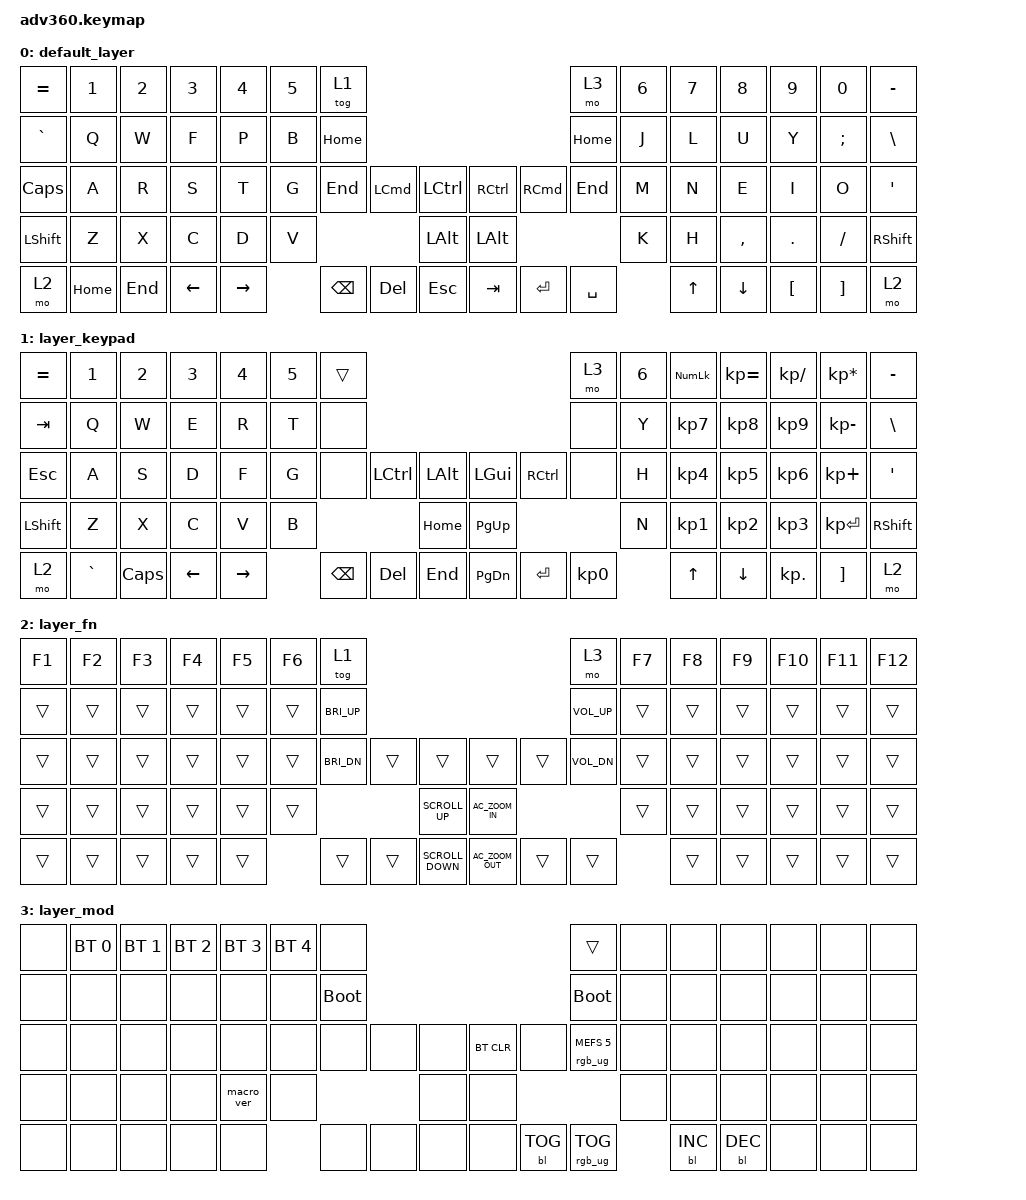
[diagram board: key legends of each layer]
/*
 * Copyright (c) 2020 The ZMK Contributors
 *
 * SPDX-License-Identifier: MIT
 */
/* THIS FILE WAS GENERATED!
 *
 * This file was generated automatically. You may or may not want to
 * edit it directly.
 */

#include <behaviors.dtsi>
#include <dt-bindings/zmk/backlight.h>
#include <dt-bindings/zmk/bt.h>
#include <dt-bindings/zmk/keys.h>
#include <dt-bindings/zmk/rgb.h>

/ {
    behaviors {
        #include "macros.dtsi"
    #include "version.dtsi"

        hm: homerow_mods {
            compatible = "zmk,behavior-hold-tap";
            label = "HOMEROW_MODS";
            #binding-cells = <2>;
            tapping-term-ms = <200>;
            quick_tap_ms = <175>;
            flavor = "tap-preferred";
            bindings = <&kp>, <&kp>;
        };
    };

    keymap {
        compatible = "zmk,keymap";

        default_layer {
            bindings = <
&kp EQUAL  &kp N1    &kp N2   &kp N3    &kp N4     &kp N5  &tog 1                                                                    &mo 3      &kp N6  &kp N7  &kp N8     &kp N9    &kp N0         &kp MINUS
&kp GRAVE  &kp Q     &kp W    &kp F     &kp P      &kp B   &kp HOME                                                                  &kp HOME   &kp J   &kp L   &kp U      &kp Y     &kp SEMICOLON  &kp BSLH
&kp CAPS   &kp A     &kp R    &kp S     &kp T      &kp G   &kp END   &kp LEFT_COMMAND  &kp LCTRL       &kp RCTRL  &kp RIGHT_COMMAND  &kp END    &kp M   &kp N   &kp E      &kp I     &kp O          &kp SQT
&kp LSHFT  &kp Z     &kp X    &kp C     &kp D      &kp V                               &kp LALT        &kp LALT                                 &kp K   &kp H   &kp COMMA  &kp DOT   &kp FSLH       &kp RSHFT
&mo 2      &kp HOME  &kp END  &kp LEFT  &kp RIGHT          &kp BSPC  &kp DEL           &kp ESCAPE      &kp TAB    &kp ENTER          &kp SPACE          &kp UP  &kp DOWN   &kp LBKT  &kp RBKT       &mo 2
            >;
        };

        layer_keypad {
            bindings = <
&kp EQUAL  &kp N1     &kp N2    &kp N3    &kp N4     &kp N5  &trans                                                   &mo 3      &kp N6  &kp KP_NUM  &kp KP_EQUAL  &kp KP_DIVIDE  &kp KP_MULTIPLY  &kp MINUS
&kp TAB    &kp Q      &kp W     &kp E     &kp R      &kp T   &none                                                    &none      &kp Y   &kp KP_N7   &kp KP_N8     &kp KP_N9      &kp KP_MINUS     &kp BSLH
&kp ESC    &kp A      &kp S     &kp D     &kp F      &kp G   &none     &kp LCTRL  &kp LALT      &kp LGUI   &kp RCTRL  &none      &kp H   &kp KP_N4   &kp KP_N5     &kp KP_N6      &kp KP_PLUS      &kp SQT
&kp LSHFT  &kp Z      &kp X     &kp C     &kp V      &kp B                        &kp HOME      &kp PG_UP                        &kp N   &kp KP_N1   &kp KP_N2     &kp KP_N3      &kp KP_ENTER     &kp RSHFT
&mo 2      &kp GRAVE  &kp CAPS  &kp LEFT  &kp RIGHT          &kp BSPC  &kp DEL    &kp END       &kp PG_DN  &kp ENTER  &kp KP_N0          &kp UP      &kp DOWN      &kp KP_DOT     &kp RBKT         &mo 2
            >;
        };

        layer_fn {
            bindings = <
&kp F1  &kp F2  &kp F3  &kp F4  &kp F5  &kp F6  &tog 1                                                                  &mo 3         &kp F7  &kp F8  &kp F9  &kp F10  &kp F11  &kp F12
&trans  &trans  &trans  &trans  &trans  &trans  &kp C_BRI_UP                                                            &kp C_VOL_UP  &trans  &trans  &trans  &trans   &trans   &trans
&trans  &trans  &trans  &trans  &trans  &trans  &kp C_BRI_DN  &trans  &trans                 &trans             &trans  &kp C_VOL_DN  &trans  &trans  &trans  &trans   &trans   &trans
&trans  &trans  &trans  &trans  &trans  &trans                        &kp K_SCROLL_UP        &kp C_AC_ZOOM_IN                         &trans  &trans  &trans  &trans   &trans   &trans
&trans  &trans  &trans  &trans  &trans          &trans        &trans  &kp K_SCROLL_DOWN      &kp C_AC_ZOOM_OUT  &trans  &trans                &trans  &trans  &trans   &trans   &trans
            >;
        };

        layer_mod {
            bindings = <
&none  &bt BT_SEL 0  &bt BT_SEL 1  &bt BT_SEL 2  &bt BT_SEL 3  &bt BT_SEL 4  &none                                                  &trans                  &none  &none       &none       &none  &none  &none
&none  &none         &none         &none         &none         &none         &bootloader                                            &bootloader             &none  &none       &none       &none  &none  &none
&none  &none         &none         &none         &none         &none         &none        &none  &none      &bt BT_CLR  &none       &rgb_ug RGB_MEFS_CMD 5  &none  &none       &none       &none  &none  &none
&none  &none         &none         &none         &macro_ver    &none                             &none      &none                                           &none  &none       &none       &none  &none  &none
&none  &none         &none         &none         &none                       &none        &none  &none      &none       &bl BL_TOG  &rgb_ug RGB_TOG                &bl BL_INC  &bl BL_DEC  &none  &none  &none
            >;
        };
    };
};
